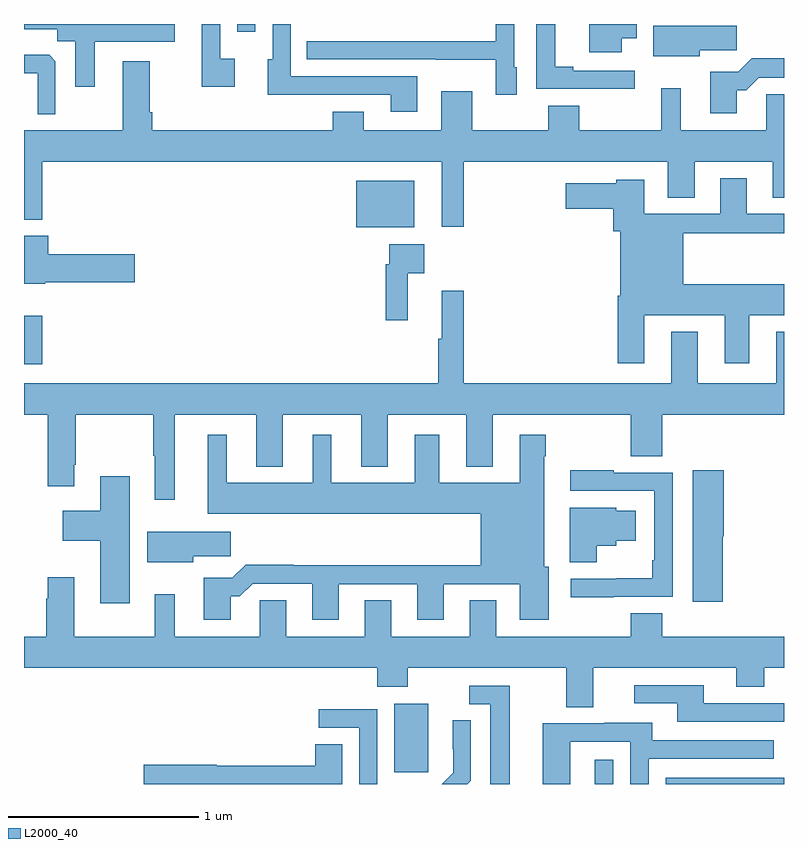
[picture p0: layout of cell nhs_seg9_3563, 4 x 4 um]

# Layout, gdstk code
import gdstk
lib = gdstk.Library(unit=1e-6, precision=1e-09)
def R(c, l, rs):  # rectangles x0, y0, x1, y1
    for r in rs: c.add(gdstk.rectangle(r[:2], r[2:], *l))
def P(c, l, *ps):  # polygons
    for p in ps: c.add(gdstk.Polygon(p, *l))
L2000_40 = (2000, 40)

nhs_seg9_3563 = lib.new_cell('nhs_seg9_3563')
R(nhs_seg9_3563, L2000_40, [(318.005,1170.5,318.102,1170.628), (318.378,1170.5,319,1170.534), (316.949,1170.561,317.128,1170.922), (315,1172.708,315.097,1172.965), (316.748,1173.431,317.053,1173.676), (316.122,1174.458,316.218,1174.5), (316.766,1174.499,317.044,1174.5), (317.138,1174.499,317.377,1174.5)])
P(nhs_seg9_3563, L2000_40, [(318.145,1174.424),(318.226,1174.424),(318.226,1174.5),(317.975,1174.5),(317.975,1174.352),(318.145,1174.352)],
  [(318.214,1174.254),(317.89,1174.254),(317.89,1174.274),(317.795,1174.274),(317.795,1174.5),(317.697,1174.5),(317.697,1174.158),(318.214,1174.158)],
  [(316.108,1174.318),(316.032,1174.318),(316.032,1174.5),(315.935,1174.5),(315.935,1174.17),(316.108,1174.17)],
  [(317.071,1174.224),(316.404,1174.224),(316.404,1174.5),(316.308,1174.5),(316.308,1174.314),(316.283,1174.314),(316.283,1174.127),(316.501,1174.127),(316.501,1174.128),(316.931,1174.128),(316.931,1174.038),(317.071,1174.038)],
  [(317.593,1174.272),(317.58,1174.272),(317.58,1174.5),(317.484,1174.5),(317.484,1174.41),(316.489,1174.41),(316.489,1174.314),(317.167,1174.314),(317.167,1174.313),(317.484,1174.313),(317.484,1174.128),(317.593,1174.128)],
  [(315.373,1174.406),(315.793,1174.406),(315.793,1174.5),(315,1174.5),(315,1174.472),(315.174,1174.472),(315.174,1174.408),(315.269,1174.408),(315.269,1174.17),(315.373,1174.17)],
  [(318.556,1174.363),(318.751,1174.363),(318.751,1174.492),(318.312,1174.492),(318.312,1174.331),(318.556,1174.331)],
  [(315.165,1174.305),(315.133,1174.337),(315,1174.337),(315,1174.242),(315.072,1174.242),(315.072,1174.025),(315.165,1174.025)],
  [(318.751,1174.151),(318.8,1174.151),(318.867,1174.218),(319,1174.218),(319,1174.319),(318.83,1174.319),(318.76,1174.249),(318.611,1174.249),(318.611,1174.029),(318.751,1174.029)],
  [(317.315,1173.776),(318.389,1173.776),(318.389,1173.586),(318.529,1173.586),(318.529,1173.776),(318.941,1173.776),(318.941,1173.586),(319,1173.586),(319,1174.13),(318.906,1174.13),(318.906,1173.94),(318.457,1173.94),(318.457,1174.162),(318.353,1174.162),(318.353,1173.94),(317.923,1173.94),(317.923,1174.069),(317.759,1174.069),(317.759,1173.94),(317.359,1173.94),(317.359,1174.147),(317.195,1174.147),(317.195,1173.94),(316.789,1173.94),(316.789,1174.039),(316.625,1174.039),(316.625,1173.94),(315.674,1173.94),(315.674,1174.036),(315.661,1174.036),(315.661,1174.303),(315.521,1174.303),(315.521,1173.94),(315,1173.94),(315,1173.47),(315.095,1173.47),(315.095,1173.776),(317.198,1173.776),(317.198,1173.432),(317.315,1173.432)],
  [(318.265,1172.966),(318.689,1172.966),(318.689,1172.715),(318.817,1172.715),(318.817,1172.966),(319,1172.966),(319,1173.13),(318.469,1173.13),(318.469,1173.4),(319,1173.4),(319,1173.501),(318.805,1173.501),(318.805,1173.688),(318.665,1173.688),(318.665,1173.501),(318.265,1173.501),(318.265,1173.679),(318.117,1173.679),(318.117,1173.661),(317.85,1173.661),(317.85,1173.527),(318.101,1173.527),(318.101,1173.408),(318.137,1173.408),(318.137,1173.07),(318.125,1173.07),(318.125,1172.715),(318.265,1172.715)],
  [(315.111,1173.14),(315.583,1173.14),(315.583,1173.287),(315.128,1173.287),(315.128,1173.385),(315,1173.385),(315,1173.134),(315.111,1173.134)],
  [(317.021,1173.188),(317.107,1173.188),(317.107,1173.34),(316.923,1173.34),(316.923,1173.236),(316.903,1173.236),(316.903,1172.94),(317.021,1172.94)],
  [(315.793,1172.444),(316.223,1172.444),(316.223,1172.171),(316.363,1172.171),(316.363,1172.444),(316.775,1172.444),(316.775,1172.171),(316.915,1172.171),(316.915,1172.444),(317.327,1172.444),(317.327,1172.171),(317.467,1172.171),(317.467,1172.444),(318.193,1172.444),(318.193,1172.224),(318.359,1172.224),(318.359,1172.444),(319,1172.444),(319,1172.881),(318.959,1172.881),(318.959,1172.608),(318.547,1172.608),(318.547,1172.881),(318.407,1172.881),(318.407,1172.608),(317.315,1172.608),(317.315,1173.097),(317.198,1173.097),(317.198,1172.844),(317.179,1172.844),(317.179,1172.608),(315,1172.608),(315,1172.444),(315.125,1172.444),(315.125,1172.067),(315.265,1172.067),(315.265,1172.179),(315.273,1172.179),(315.273,1172.444),(315.679,1172.444),(315.679,1172.228),(315.689,1172.228),(315.689,1171.995),(315.793,1171.995)],
  [(316.087,1171.487),(316.136,1171.487),(316.203,1171.554),(316.517,1171.554),(316.517,1171.365),(316.657,1171.365),(316.657,1171.551),(317.069,1171.551),(317.069,1171.365),(317.209,1171.365),(317.209,1171.551),(317.609,1171.551),(317.609,1171.365),(317.761,1171.365),(317.761,1171.644),(317.737,1171.644),(317.737,1172.225),(317.745,1172.225),(317.745,1172.338),(317.609,1172.338),(317.609,1172.086),(317.185,1172.086),(317.185,1172.338),(317.057,1172.338),(317.057,1172.086),(316.618,1172.086),(316.618,1172.338),(316.52,1172.338),(316.52,1172.086),(316.066,1172.086),(316.066,1172.338),(315.968,1172.338),(315.968,1171.922),(317.405,1171.922),(317.405,1171.652),(316.421,1171.652),(316.421,1171.655),(316.166,1171.655),(316.096,1171.585),(315.947,1171.585),(315.947,1171.365),(316.087,1171.365)],
  [(318.677,1171.803),(318.682,1171.803),(318.682,1172.152),(318.521,1172.152),(318.521,1171.458),(318.677,1171.458)],
  [(318.104,1171.485),(318.414,1171.485),(318.414,1172.139),(318.104,1172.139),(318.104,1172.152),(317.874,1172.152),(317.874,1172.043),(318.318,1172.043),(318.318,1171.678),(318.306,1171.678),(318.306,1171.583),(318.117,1171.583),(318.117,1171.581),(317.877,1171.581),(317.877,1171.484),(318.104,1171.484)],
  [(315.556,1172.119),(315.401,1172.119),(315.401,1171.939),(315.204,1171.939),(315.204,1171.781),(315.401,1171.781),(315.401,1171.452),(315.556,1171.452)],
  [(318.015,1171.754),(318.117,1171.754),(318.117,1171.781),(318.22,1171.781),(318.22,1171.939),(318.117,1171.939),(318.117,1171.954),(317.873,1171.954),(317.873,1171.666),(318.015,1171.666)],
  [(315.892,1171.699),(316.087,1171.699),(316.087,1171.828),(315.648,1171.828),(315.648,1171.667),(315.892,1171.667)],
  [(317.995,1171.112),(318.749,1171.112),(318.749,1171.013),(318.897,1171.013),(318.897,1171.112),(319,1171.112),(319,1171.276),(318.359,1171.276),(318.359,1171.4),(318.193,1171.4),(318.193,1171.276),(317.485,1171.276),(317.485,1171.466),(317.345,1171.466),(317.345,1171.276),(316.933,1171.276),(316.933,1171.466),(316.793,1171.466),(316.793,1171.276),(316.381,1171.276),(316.381,1171.466),(316.242,1171.466),(316.242,1171.276),(315.793,1171.276),(315.793,1171.498),(315.689,1171.498),(315.689,1171.276),(315.265,1171.276),(315.265,1171.588),(315.125,1171.588),(315.125,1171.475),(315.118,1171.475),(315.118,1171.276),(315,1171.276),(315,1171.112),(316.859,1171.112),(316.859,1171.013),(317.019,1171.013),(317.019,1171.112),(317.855,1171.112),(317.855,1170.904),(317.995,1170.904)],
  [(319,1170.924),(318.577,1170.924),(318.577,1171.02),(318.213,1171.02),(318.213,1170.924),(318.437,1170.924),(318.437,1170.828),(319,1170.828)],
  [(317.557,1171.017),(317.343,1171.017),(317.343,1170.921),(317.453,1170.921),(317.453,1170.5),(317.557,1170.5)],
  [(316.86,1170.894),(316.551,1170.894),(316.551,1170.795),(316.764,1170.795),(316.764,1170.5),(316.86,1170.5)],
  [(317.352,1170.518),(317.352,1170.836),(317.256,1170.836),(317.256,1170.682),(317.258,1170.682),(317.258,1170.56),(317.198,1170.5),(317.334,1170.5)],
  [(317.874,1170.723),(318.192,1170.723),(318.192,1170.5),(318.288,1170.5),(318.288,1170.633),(318.947,1170.633),(318.947,1170.729),(318.307,1170.729),(318.307,1170.823),(318.053,1170.823),(318.053,1170.819),(317.729,1170.819),(317.729,1170.5),(317.874,1170.5)],
  [(316.675,1170.71),(316.532,1170.71),(316.532,1170.596),(316.014,1170.596),(316.014,1170.602),(315.63,1170.602),(315.63,1170.5),(316.675,1170.5)])

lib.write_gds('nhs_seg9_3563.gds')
